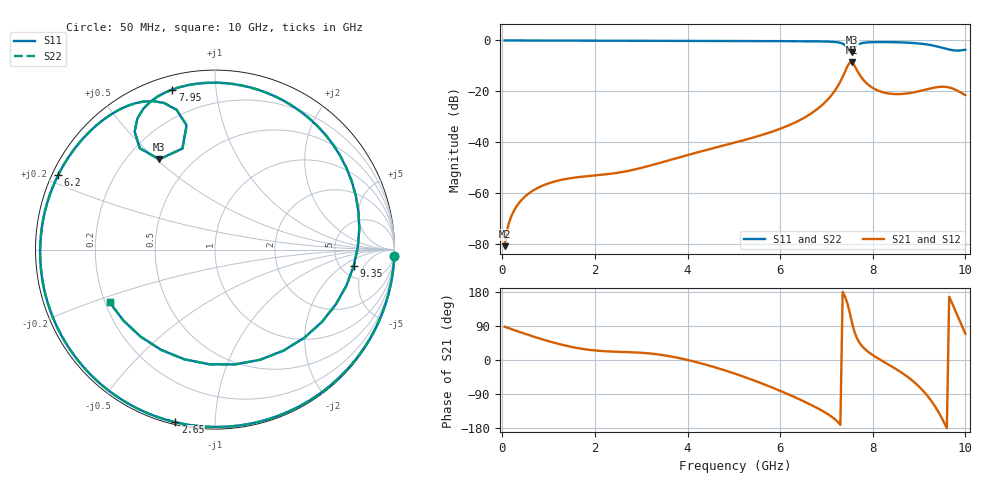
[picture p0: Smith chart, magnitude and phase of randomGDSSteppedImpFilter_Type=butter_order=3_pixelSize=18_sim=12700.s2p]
! freq	dB(S11)	phase(S11)	dB(S12)	phase(S12)
!  dB(S21)	phase(S21)	dB(S22)	phase(S22)
!S-par simulation data
#  GHz  S  DB  R 50
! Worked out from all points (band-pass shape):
!   200 points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, 50 MHz to 10 GHz, reference 50 ohm
!   highest |S21| = -8.62 dB at 7.55 GHz (marker M1); lowest = -80.8 dB at 50 MHz (marker M2)
!   |S21| within 3 dB of the highest: 7.416 GHz to 7.656 GHz (240.4 MHz wide, 3.19 % of centre)
!   lowest |S11| = -4.6 dB at 7.55 GHz (marker M3), VSWR 3.90, Z = 16.5 + j25.5 ohm
!   |S11| at or under -10 dB: nowhere
!   |S22| runs from -4.6 to 0.0 dB; largest |S21 - S12| = 0
!   S11 on the Smith chart (normalised r, x): 50 MHz: 0, -53; 2.65 GHz: 0.01, -0.80; 6.2 GHz: 0.02, +0.23; 7.95 GHz: 0.06, +0.77; 9.35 GHz: 6.53, -3.07; 10 GHz: 0.22, -0.23
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0.05  -0.00 -2.2  -80.77 87.8  -80.77 87.8  -0.00 -2.2
0.2  -0.01 -8.6  -68.80 81.3  -68.80 81.3  -0.01 -8.6
0.5  -0.03 -21.4  -61.14 68.8  -61.14 68.8  -0.03 -21.4
1  -0.05 -42.2  -56.10 49.6  -56.10 49.6  -0.05 -42.2
1.75  -0.08 -71.5  -53.45 29.0  -53.45 29.0  -0.08 -71.5
2.65  -0.12 -103.0  -51.46 21.1  -51.46 21.1  -0.12 -103.0
3.4  -0.14 -126.5  -48.08 14.1  -48.08 14.1  -0.14 -126.5
5.05  -0.21 -173.1  -39.95 -37.1  -39.95 -37.1  -0.21 -173.1
6.2  -0.29 154.6  -33.23 -91.9  -33.23 -91.9  -0.29 154.6
6.7  -0.35 138.9  -28.30 -120.5  -28.30 -120.5  -0.35 138.9
7.3  -0.94 112.8  -16.14 -171.2  -16.14 -171.2  -0.94 112.8
7.45  -2.97 102.9  -10.24 150.3  -10.24 150.3  -2.98 102.8
7.55  -4.56 121.7  -8.62 99.3  -8.62 99.3  -4.57 121.7
7.65  -1.99 124.3  -11.42 59.7  -11.42 59.7  -1.99 124.3
7.95  -0.70 104.9  -18.04 17.1  -18.04 17.1  -0.70 104.9
8.35  -0.65 83.6  -20.85 -12.9  -20.85 -12.9  -0.65 83.6
8.9  -1.03 46.2  -20.32 -59.0  -20.32 -59.0  -1.03 46.1
9.35  -2.18 -6.9  -18.45 -123.6  -18.45 -123.6  -2.18 -6.9
9.5  -2.86 -34.1  -18.17 -155.3  -18.17 -155.3  -2.86 -34.1
9.7  -3.75 -80.1  -18.72 153.4  -18.72 153.4  -3.75 -80.1
9.85  -3.96 -118.3  -19.93 111.0  -19.93 111.0  -3.95 -118.3
10  -3.66 -153.4  -21.48 69.5  -21.48 69.5  -3.66 -153.4
